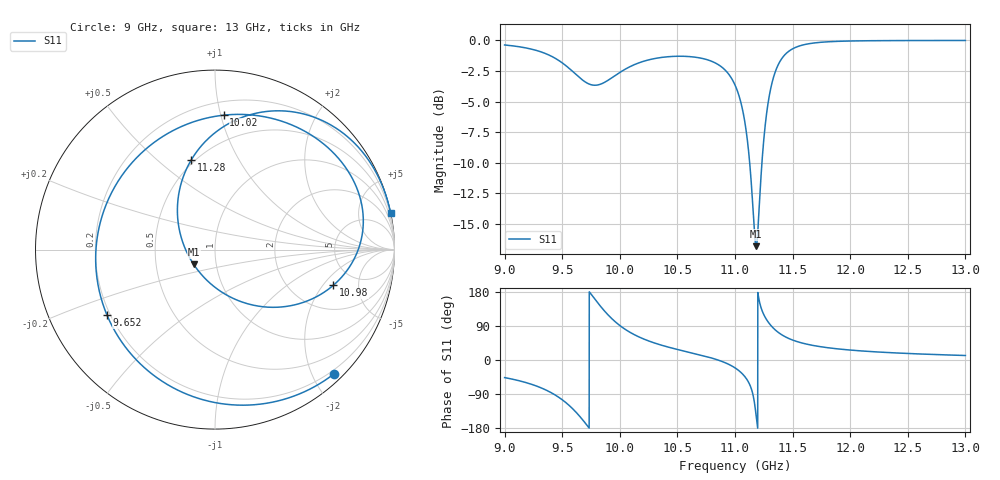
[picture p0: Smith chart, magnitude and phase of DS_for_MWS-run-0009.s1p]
! TOUCHSTONE file generated by CST DESIGN STUDIO
! Date and time: Tue Feb  4 14:37:09 2025
! Project name: C:\Work\MatlabApps\UnitCellOptimizationMatlab\CST\unitcell.cst
! Tree item: Tasks\Sweep1\SPara1\S-Parameters
! Header version: 2024
! Port assignment regex: !\s*Touchstone port\s*([0-9]+)\s*=\s*(CST MWS port|CST DES external port|CST DES block port)\s*(.+)\s* \(\"(.*)\"\)(\s*mode\s*([0-9]+))?.*
! Touchstone port assignment:
! Touchstone port 1 = CST DES external port 1 ("")
# GHz S MA R 50
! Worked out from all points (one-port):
!   4001 points, 9 GHz to 13 GHz, reference 50 ohm
!   lowest |S11| = -16.8 dB at 11.18 GHz (marker M1), VSWR 1.34, Z = 38.9 - j6.45 ohm
!   |S11| at or under -10 dB: 11.13 GHz to 11.23 GHz (106.1 MHz wide, 0.949 % of centre)
!   S11 on the Smith chart (normalised r, x): 9 GHz: 0.14, -2.33; 9.652 GHz: 0.19, -0.27; 10.02 GHz: 0.30, +1.02; 10.98 GHz: 3.37, -2.55; 11.28 GHz: 0.48, +0.66; 13 GHz: 0.01, +9.61
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9  0.9582 -46.4
9.268  0.9124 -67.7
9.4  0.8648 -85.5
9.5  0.81 -104.9
9.576  0.7577 -124.3
9.652  0.704 -148.6
9.723  0.6671 -175.3
9.792  0.6563 157.3
9.895  0.6861 120.0
10  0.7399 91.0
10.021  0.7505 86.3
10.235  0.8293 52.0
10.5  0.8617 27.8
10.791  0.8241 5.8
10.979  0.6884 -16.8
11  0.6577 -20.7
11.107  0.3928 -53.1
11.145  0.2475 -78.9
11.183  0.1445 -145.8
11.199  0.169 176.1
11.229  0.2939 135.4
11.278  0.5184 104.7
11.365  0.7769 75.4
11.5  0.9241 52.7
11.691  0.9769 37.7
12  0.9945 26.2
12.5  0.9989 17.2
13  0.9997 11.9
